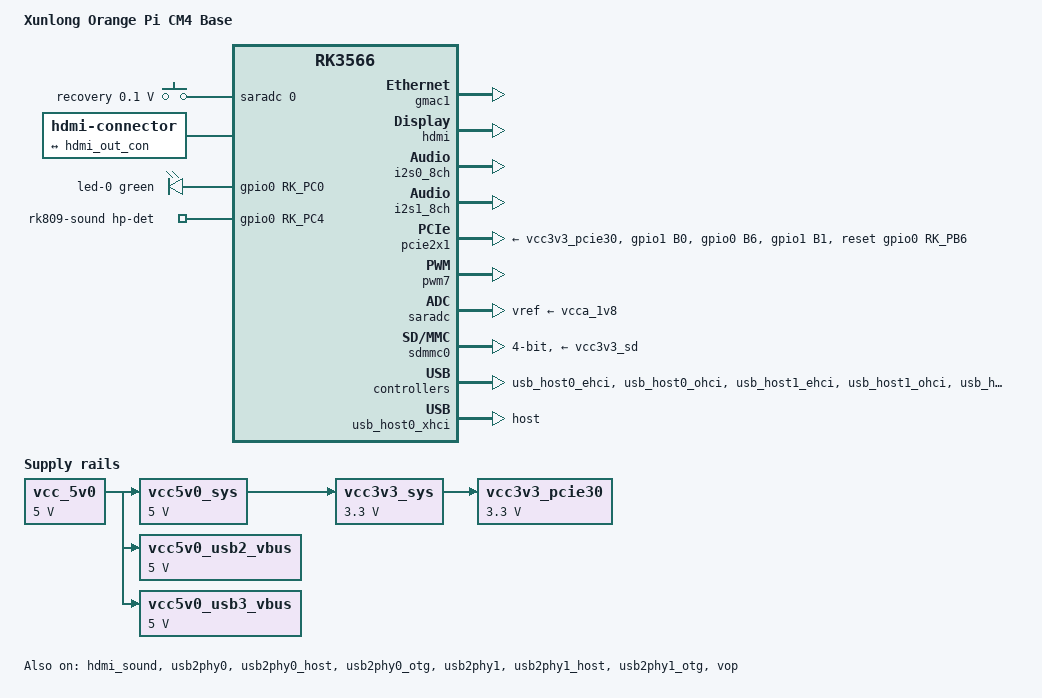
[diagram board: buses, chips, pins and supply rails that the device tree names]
// SPDX-License-Identifier: (GPL-2.0+ OR MIT)

/dts-v1/;

#include <dt-bindings/input/input.h>
#include <dt-bindings/soc/rockchip,vop2.h>
#include <dt-bindings/leds/common.h>
#include "rk3566-orangepi-cm4.dtsi"

/ {
	model = "Xunlong Orange Pi CM4 Base";
	compatible = "xunlong,orangepi-cm4-base","xunlong,orangepi-cm4", "rockchip,rk3566";

	aliases {
		ethernet0 = &gmac1;
		mmc1 = &sdmmc0;
	};

	adc-keys {
		compatible = "adc-keys";
		io-channels = <&saradc 0>;
		io-channel-names = "buttons";
		keyup-threshold-microvolt = <1750000>;

		button-recovery {
			label = "recovery";
			linux,code = <KEY_VENDOR>;
			press-threshold-microvolt = <100000>;
		};
	};

	hdmi-con {
		compatible = "hdmi-connector";
		type = "d";

		port {
			hdmi_con_in: endpoint {
				remote-endpoint = <&hdmi_out_con>;
			};
		};
	};

	leds {
		compatible = "gpio-leds";

		led-0 {
			color = <LED_COLOR_ID_GREEN>;
			default-state = "on";
			function = LED_FUNCTION_HEARTBEAT;
			gpios = <&gpio0 RK_PC0 GPIO_ACTIVE_HIGH>;
			linux,default-trigger = "heartbeat";
			pinctrl-names = "default";
			pinctrl-0 = <&led2_pin>;
		};
	};

	rk809-sound {
		compatible = "simple-audio-card";
		pinctrl-names = "default";
		pinctrl-0 = <&hp_det_l>;
		simple-audio-card,name = "Analog RK809";
		simple-audio-card,format = "i2s";
		simple-audio-card,hp-det-gpios = <&gpio0 RK_PC4 GPIO_ACTIVE_HIGH>;
		simple-audio-card,mclk-fs = <256>;
		simple-audio-card,widgets =
			"Headphone", "Headphones",
			"Microphone", "Headset Microphone";
		simple-audio-card,routing =
			"Headphones", "HPOL",
			"Headphones", "HPOR",
			"MICL", "Headset Microphone";

		simple-audio-card,cpu {
			sound-dai = <&i2s1_8ch>;
		};

		simple-audio-card,codec {
			sound-dai = <&rk809>;
		};
	};

	vcc3v3_pcie30: regulator-vcc3v3-pcie30 {
		compatible = "regulator-fixed";
		regulator-name = "vcc3v3_pcie30";
		regulator-always-on;
		regulator-boot-on;
		regulator-min-microvolt = <3300000>;
		regulator-max-microvolt = <3300000>;
		vin-supply = <&vcc3v3_sys>;
	};

	vcc3v3_sys: regulator-vcc3v3-sys {
		compatible = "regulator-fixed";
		regulator-name = "vcc3v3_sys";
		regulator-always-on;
		regulator-boot-on;
		regulator-min-microvolt = <3300000>;
		regulator-max-microvolt = <3300000>;
		vin-supply = <&vcc5v0_sys>;
	};

	vcc_5v0: regulator-vcc-5v0 {
		compatible = "regulator-fixed";
		regulator-name = "vcc_5v0";
		regulator-always-on;
		regulator-boot-on;
		regulator-min-microvolt = <5000000>;
		regulator-max-microvolt = <5000000>;
	};

	vcc5v0_sys: regulator-vcc5v0-sys {
		compatible = "regulator-fixed";
		regulator-name = "vcc5v0_sys";
		regulator-always-on;
		regulator-boot-on;
		regulator-min-microvolt = <5000000>;
		regulator-max-microvolt = <5000000>;
		vin-supply = <&vcc_5v0>;
	};

	vcc5v0_usb2_vbus: regulator-vcc5v0-usb2-vbus {
		compatible = "regulator-fixed";
		regulator-name = "vcc5v0_usb2_vbus";
		regulator-always-on;
		regulator-boot-on;
		regulator-min-microvolt = <5000000>;
		regulator-max-microvolt = <5000000>;
		vin-supply = <&vcc_5v0>;
	};

	vcc5v0_usb3_vbus: regulator-vcc5v0-usb3-vbus {
		compatible = "regulator-fixed";
		regulator-name = "vcc5v0_usb3_vbus";
		regulator-always-on;
		regulator-boot-on;
		regulator-min-microvolt = <5000000>;
		regulator-max-microvolt = <5000000>;
		vin-supply = <&vcc_5v0>;
	};
};

&gmac1 {
	status = "okay";
};

&hdmi {
	avdd-0v9-supply = <&vdda0v9_image>;
	avdd-1v8-supply = <&vcca1v8_image>;
	status = "okay";
};

&hdmi_in {
	hdmi_in_vp0: endpoint {
		remote-endpoint = <&vp0_out_hdmi>;
	};
};

&hdmi_out {
	hdmi_out_con: endpoint {
		remote-endpoint = <&hdmi_con_in>;
	};
};

&hdmi_sound {
	status = "okay";
};

&i2s0_8ch {
	status = "okay";
};

&i2s1_8ch {
	pinctrl-names = "default";
	pinctrl-0 = <&i2s1m0_sclktx
		     &i2s1m0_lrcktx
		     &i2s1m0_sdi0
		     &i2s1m0_sdo0>;
	rockchip,trcm-sync-tx-only;
	status = "okay";
};

&pcie2x1 {
	pinctrl-names = "default";
	pinctrl-0 = <&pcie20_pins>;
	reset-gpios = <&gpio0 RK_PB6 GPIO_ACTIVE_HIGH>;
	vpcie3v3-supply = <&vcc3v3_pcie30>;
	status = "okay";
};

&pinctrl {
	leds {
		led2_pin: led2-pin {
			rockchip,pins = <0 RK_PC0 RK_FUNC_GPIO &pcfg_pull_none>;
		};
	};

	pcie {
		pcie20_pins: pcie20-pins {
			rockchip,pins =
				<1 RK_PB0 4 &pcfg_pull_none>,
				<0 RK_PB6 RK_FUNC_GPIO &pcfg_pull_none>,
				<1 RK_PB1 4 &pcfg_pull_none>;
		};
	};

	sound {
		hp_det_l: hp-det-l {
			rockchip,pins = <0 RK_PC4 RK_FUNC_GPIO &pcfg_pull_none>;
		};
	};
};

&pmu_io_domains {
	pmuio1-supply = <&vcc3v3_pmu>;
	pmuio2-supply = <&vcc3v3_pmu>;
	vccio1-supply = <&vcc_3v3>;
	vccio2-supply = <&vcc_1v8>;
	vccio3-supply = <&vccio_sd>;
	vccio4-supply = <&vcc_1v8>;
	vccio5-supply = <&vcc_1v8>;
	vccio6-supply = <&vcc_3v3>;
	vccio7-supply = <&vcc_3v3>;
	status = "okay";
};

&pwm7 {
	status = "okay";
};

&saradc {
	vref-supply = <&vcca_1v8>;
	status = "okay";
};

&sdmmc0 {
	bus-width = <4>;
	cap-sd-highspeed;
	disable-wp;
	pinctrl-names = "default";
	pinctrl-0 = <&sdmmc0_bus4 &sdmmc0_clk &sdmmc0_cmd &sdmmc0_det>;
	sd-uhs-sdr104;
	vmmc-supply = <&vcc3v3_sd>;
	vqmmc-supply = <&vccio_sd>;
	status = "okay";
};

&usb_host0_ehci {
	status = "okay";
};

&usb_host0_ohci {
	status = "okay";
};

&usb_host0_xhci {
	dr_mode = "host";
	status = "okay";
};

&usb_host1_ehci {
	status = "okay";
};

&usb_host1_ohci {
	status = "okay";
};

&usb_host1_xhci {
	status = "okay";
};

&usb2phy0 {
	status = "okay";
};

&usb2phy0_host {
	phy-supply = <&vcc5v0_usb3_vbus>;
	status = "okay";
};

&usb2phy0_otg {
	phy-supply = <&vcc5v0_usb2_vbus>;
	status = "okay";
};

&usb2phy1 {
	status = "okay";
};

&usb2phy1_host {
	phy-supply = <&vcc5v0_usb2_vbus>;
	status = "okay";
};

&usb2phy1_otg {
	phy-supply = <&vcc5v0_usb2_vbus>;
	status = "okay";
};

&vop {
	assigned-clocks = <&cru DCLK_VOP0>, <&cru DCLK_VOP1>;
	assigned-clock-parents = <&pmucru PLL_HPLL>, <&cru PLL_VPLL>;
	status = "okay";
};

&vop_mmu {
	status = "okay";
};

&vp0 {
	vp0_out_hdmi: endpoint@ROCKCHIP_VOP2_EP_HDMI0 {
		reg = <ROCKCHIP_VOP2_EP_HDMI0>;
		remote-endpoint = <&hdmi_in_vp0>;
	};
};
